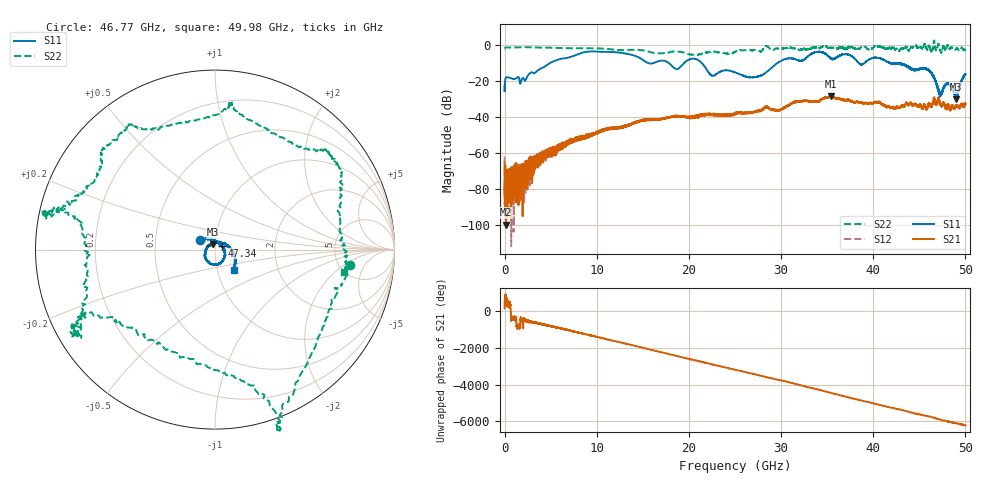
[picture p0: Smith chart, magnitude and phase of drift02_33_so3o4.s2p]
!Created with skrf (http://scikit-rf.org).
# Hz S RI R 50.0
!freq ReS11 ImS11 ReS21 ImS21 ReS12 ImS12 ReS22 ImS22
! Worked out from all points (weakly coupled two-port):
!   10001 points, 300 kHz to 50 GHz, reference 50 ohm
!   highest |S21| = -28.52 dB at 35.38 GHz (marker M1); lowest = -99.7 dB at 165.3 MHz (marker M2)
!   lowest |S11| = -30.2 dB at 49.02 GHz (marker M3), VSWR 1.06, Z = 48.8 + j2.8 ohm
!   |S11| at or under -10 dB: start of sweep to 4.957 GHz; 21.38 GHz to 29.64 GHz (8.256 GHz wide, 32.4 % of centre); 41.83 GHz to end of sweep (the widest 3 of 10)
!   |S22| runs from -5.7 to 2.4 dB; largest |S21 - S12| = 0.0029
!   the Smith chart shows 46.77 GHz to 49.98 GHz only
!   S11 on the Smith chart (normalised r, x): 46.77 GHz: 0.84, +0.09; 47.34 GHz: 1.08, +0.05; 49.98 GHz: 1.20, -0.28
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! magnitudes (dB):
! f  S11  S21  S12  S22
! 300 kHz  -22.4  -65.1  -61.9  -2.1
! 165.3 MHz  -18.0  -99.7  -73.5  -1.4
! 1.885 GHz  -19.0  -69.2  -74.1  -1.3
! 3.6 GHz  -14.2  -63.1  -64.3  -1.5
! 8.335 GHz  -4.5  -51.9  -51.5  -1.9
! 16.67 GHz  -9.1  -41.4  -41.3  -4.7
! 18.7 GHz  -13.5  -39.6  -39.6  -3.7
! 20.6 GHz  -7.7  -39.8  -40.2  -5.7
! 22.5 GHz  -17.1  -38.6  -38.7  -3.7
! 25 GHz  -15.2  -38.2  -38.5  -3.9
! 27.47 GHz  -17.6  -36.6  -36.4  -3.2
! 30.22 GHz  -8.3  -35.4  -35.2  -2.0
! 33.34 GHz  -4.9  -31.4  -31.3  -1.6
! 35.38 GHz  -7.5  -28.5  -28.6  -1.5
! 41.67 GHz  -9.7  -34.1  -34.1  -1.8
! 45.78 GHz  -13.4  -35.9  -35.6  -1.9
! 46.77 GHz  -20.0  -32.9  -32.8  -2.4
! 47.34 GHz  -27.0  -33.8  -33.5  -4.1
! 48.14 GHz  -21.3  -33.1  -33.6  -0.7
! 49.02 GHz  -30.2  -33.5  -34.1  -2.0
! 49.98 GHz  -16.2  -32.8  -32.9  -2.7
! 50 GHz  -16.2  -32.9  -32.5  -2.7
